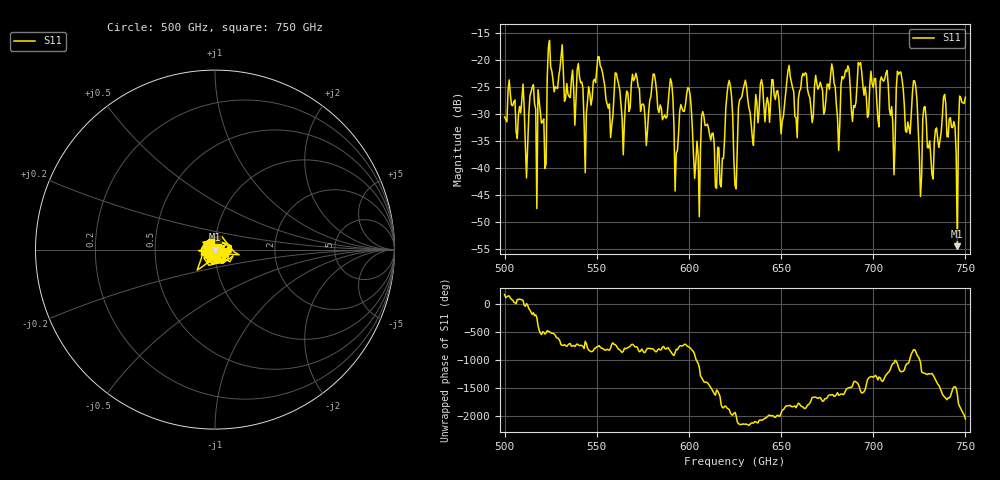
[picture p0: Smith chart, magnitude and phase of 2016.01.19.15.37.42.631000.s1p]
!Created with skrf (http://scikit-rf.org).
# GHz S RI R 50.0
!freq ReS11 ImS11
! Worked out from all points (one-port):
!   401 points, 500 GHz to 750 GHz, reference 50 ohm
!   lowest |S11| = -54.5 dB at 745.6 GHz (marker M1), VSWR 1.00, Z = 49.8 - j0.0537 ohm
!   |S11| at or under -10 dB: start of sweep to end of sweep
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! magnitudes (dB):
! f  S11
! 500 GHz  -30.6
! 515 GHz  -25.0
! 521.2 GHz  -30.9
! 524.4 GHz  -16.4
! 531.2 GHz  -17.2
! 543.8 GHz  -40.9
! 551.2 GHz  -19.5
! 562.5 GHz  -25.6
! 590 GHz  -23.5
! 593.8 GHz  -36.8
! 600 GHz  -25.3
! 604.4 GHz  -35.1
! 608.1 GHz  -30.5
! 616.2 GHz  -36.3
! 621.9 GHz  -23.8
! 625 GHz  -43.3
! 630 GHz  -24.6
! 656.2 GHz  -25.2
! 687.5 GHz  -25.1
! 706.9 GHz  -22.5
! 710.6 GHz  -31.8
! 714.4 GHz  -22.3
! 718.8 GHz  -31.5
! 722.5 GHz  -23.9
! 725.6 GHz  -45.3
! 738.1 GHz  -26.9
! 745.6 GHz  -54.5
! 750 GHz  -26.9
